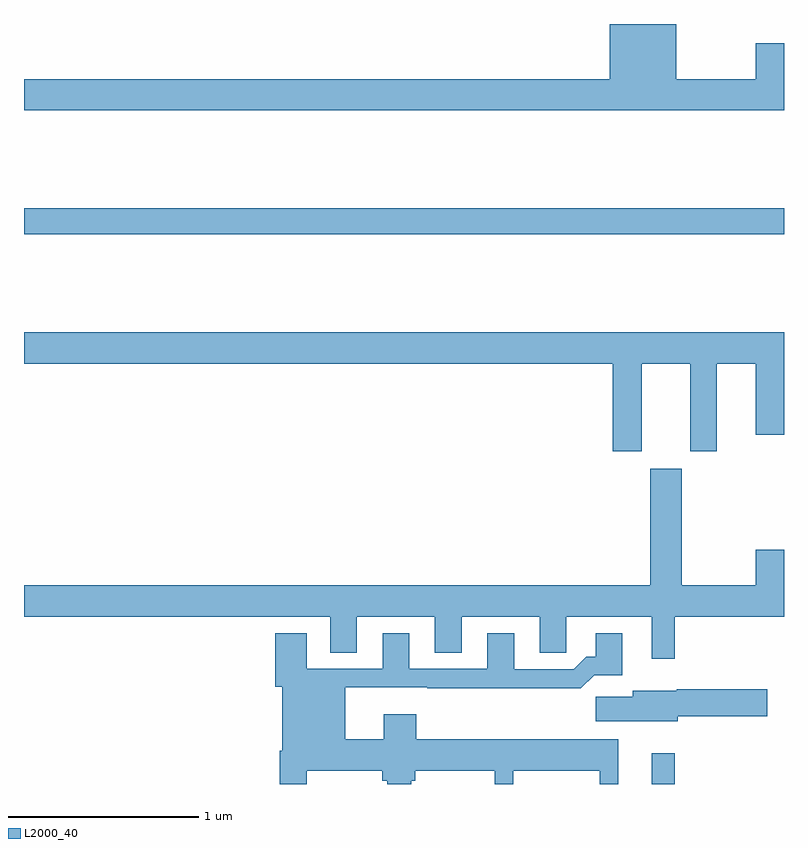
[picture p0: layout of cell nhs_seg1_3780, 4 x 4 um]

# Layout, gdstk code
import gdstk
lib = gdstk.Library(unit=1e-6, precision=1e-09)
def R(c, l, rs):  # rectangles x0, y0, x1, y1
    for r in rs: c.add(gdstk.rectangle(r[:2], r[2:], *l))
def P(c, l, *ps):  # polygons
    for p in ps: c.add(gdstk.Polygon(p, *l))
L2000_40 = (2000, 40)

nhs_seg1_3780 = lib.new_cell('nhs_seg1_3780')
R(nhs_seg1_3780, L2000_40, [(320.303,536.199,320.425,536.362), (317,539.092,321,539.228)])
P(nhs_seg1_3780, L2000_40, [(321,540.097),(320.852,540.097),(320.852,539.908),(320.434,539.908),(320.434,540.199),(320.084,540.199),(320.084,539.908),(317,539.908),(317,539.744),(321,539.744)],
  [(320.251,538.412),(320.507,538.412),(320.507,537.951),(320.647,537.951),(320.647,538.412),(320.852,538.412),(320.852,538.038),(321,538.038),(321,538.576),(317,538.576),(317,538.412),(320.099,538.412),(320.099,537.951),(320.251,537.951)],
  [(320.425,537.08),(321,537.08),(321,537.433),(320.852,537.433),(320.852,537.244),(320.461,537.244),(320.461,537.859),(320.297,537.859),(320.297,537.244),(317,537.244),(317,537.08),(318.611,537.08),(318.611,536.89),(318.751,536.89),(318.751,537.08),(319.163,537.08),(319.163,536.89),(319.303,536.89),(319.303,537.08),(319.715,537.08),(319.715,536.89),(319.854,536.89),(319.854,537.08),(320.303,537.08),(320.303,536.859),(320.425,536.859)],
  [(318.487,536.27),(318.886,536.27),(318.886,536.217),(318.911,536.217),(318.911,536.199),(319.039,536.199),(319.039,536.217),(319.059,536.217),(319.059,536.27),(319.478,536.27),(319.478,536.199),(319.576,536.199),(319.576,536.27),(320.03,536.27),(320.03,536.199),(320.128,536.199),(320.128,536.434),(319.064,536.434),(319.064,536.566),(318.893,536.566),(318.893,536.434),(318.691,536.434),(318.691,536.708),(319.123,536.708),(319.123,536.704),(319.675,536.704),(319.675,536.702),(319.931,536.702),(320,536.771),(320.149,536.771),(320.149,536.992),(320.009,536.992),(320.009,536.869),(319.96,536.869),(319.893,536.802),(319.579,536.802),(319.579,536.992),(319.439,536.992),(319.439,536.805),(319.027,536.805),(319.027,536.992),(318.887,536.992),(318.887,536.805),(318.487,536.805),(318.487,536.992),(318.323,536.992),(318.323,536.712),(318.359,536.712),(318.359,536.374),(318.347,536.374),(318.347,536.199),(318.487,536.199)],
  [(320.44,536.555),(320.911,536.555),(320.911,536.697),(320.436,536.697),(320.436,536.689),(320.204,536.689),(320.204,536.657),(320.01,536.657),(320.01,536.528),(320.44,536.528)])

lib.write_gds('nhs_seg1_3780.gds')
